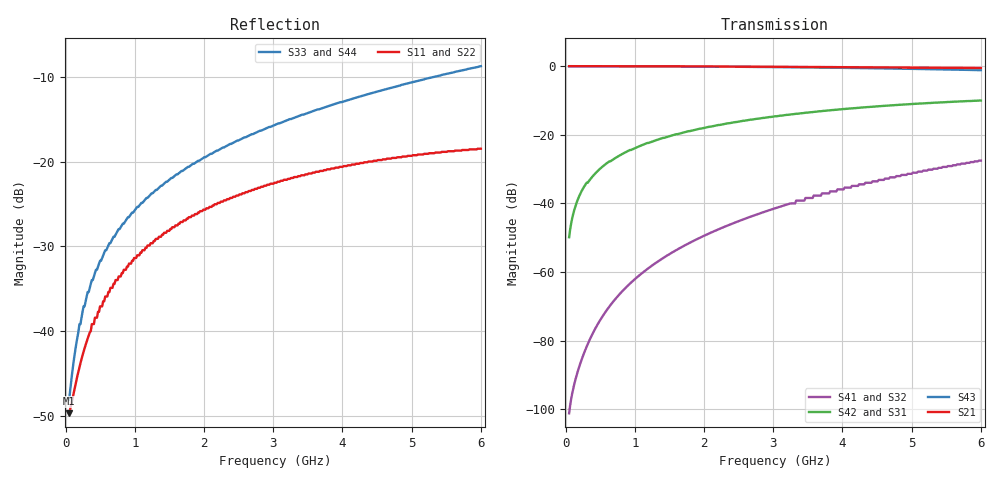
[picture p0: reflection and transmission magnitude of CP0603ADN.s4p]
!	AVX THIN FILM OPERATION
!	CP0603 HIGH DIRECTIVITY COUPLERS
!	P/N CP0603AxxxxDLTR
!	Network	Analyzer HP8720ES.07.64:Feb23,2000 Serial No.US39172382
!	Hewlett-Packard
!	24 July 2003	02:45:57
# MHZ S MA R 50
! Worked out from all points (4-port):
!   400 points, 50 MHz to 6 GHz, reference 50 ohm
!   strongest paths, dB at 50 MHz, 1.541 GHz, 3.032 GHz, 4.524 GHz, 6 GHz:
!     S21: 0.0, -0.1, -0.2, -0.4, -0.6
!     S43: 0.0, -0.1, -0.3, -0.7, -1.2
!     S42: -49.9, -20.2, -14.6, -11.7, -10.0
!     S31: -49.9, -20.2, -14.6, -11.7, -10.0
!     S41: -101.1, -54.3, -41.4, -33.2, -27.5
!     S32: -101.1, -54.3, -41.4, -33.2, -27.5
!   lowest |S11| = -49.7 dB at 50 MHz (marker M1), VSWR 1.01, Z = 50.3 - j0.137 ohm
!   |S11| at or under -10 dB: start of sweep to end of sweep
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50  0.003276 -24.6  0.997 -0.3  0.003217 89.5  8.782e-06 -92.3
    0.997 -0.3  0.003276 -24.6  8.782e-06 -92.3  0.003217 89.5
    0.003217 89.5  8.782e-06 -92.3  0.003937 40.1  0.997 -0.6
    8.782e-06 -92.3  0.003217 89.5  0.997 -0.6  0.003937 40.1
139.474  0.004789 -52.5  0.997 -1.0  0.008972 88.7  2.679e-05 -114.0
         0.997 -1.0  0.004789 -52.5  2.679e-05 -114.0  0.008972 88.7
         0.008972 88.7  2.679e-05 -114.0  0.007751 65.8  0.997 -1.6
         2.679e-05 -114.0  0.008972 88.7  0.997 -1.6  0.007751 65.8
303.509  0.008675 -72.1  0.997 -2.1  0.02 87.2  8.226e-05 -140.2
         0.997 -2.1  0.008675 -72.1  8.226e-05 -140.2  0.02 87.2
         0.02 87.2  8.226e-05 -140.2  0.016 75.7  0.997 -3.5
         8.226e-05 -140.2  0.02 87.2  0.997 -3.5  0.016 75.7
721.053  0.02 -86.3  0.996 -5.0  0.046 83.4  0.0004089 -164.0
         0.996 -5.0  0.02 -86.3  0.0004089 -164.0  0.046 83.4
         0.046 83.4  0.0004089 -164.0  0.037 77.2  0.995 -8.3
         0.0004089 -164.0  0.046 83.4  0.995 -8.3  0.037 77.2
1183.333  0.032 -92.9  0.994 -8.2  0.076 79.1  0.001115 -173.3
          0.994 -8.2  0.032 -92.9  0.001115 -173.3  0.076 79.1
          0.076 79.1  0.001115 -173.3  0.061 73.8  0.992 -13.5
          0.001115 -173.3  0.076 79.1  0.992 -13.5  0.061 73.8
3330.702  0.081 -110.4  0.973 -22.7  0.202 59.5  0.011 163.6
          0.973 -22.7  0.081 -110.4  0.011 163.6  0.202 59.5
          0.202 59.5  0.011 163.6  0.183 50.8  0.959 -38.2
          0.011 163.6  0.202 59.5  0.959 -38.2  0.183 50.8
6000  0.119 -127.7  0.937 -39.5  0.315 35.6  0.042 130.3
      0.937 -39.5  0.119 -127.7  0.042 130.3  0.315 35.6
      0.315 35.6  0.042 130.3  0.365 20.2  0.872 -69.3
      0.042 130.3  0.315 35.6  0.872 -69.3  0.365 20.2
